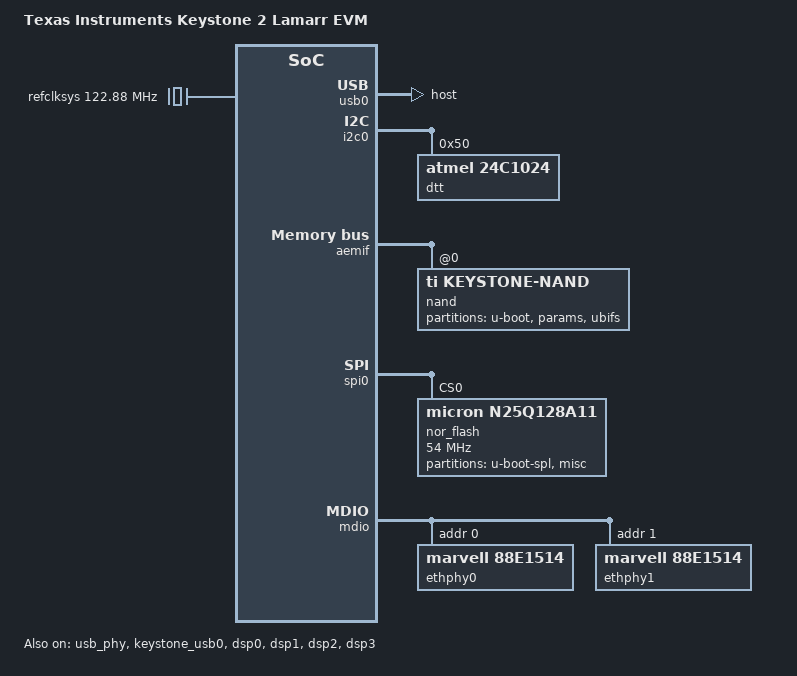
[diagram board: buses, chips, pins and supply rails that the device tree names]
// SPDX-License-Identifier: GPL-2.0
/*
 * Keystone 2 Lamarr EVM device tree
 *
 * Copyright (C) 2014-2017 Texas Instruments Incorporated - http://www.ti.com/
 */
/dts-v1/;

#include "keystone.dtsi"
#include "keystone-k2l.dtsi"

/ {
	compatible = "ti,k2l-evm", "ti,k2l", "ti,keystone";
	model = "Texas Instruments Keystone 2 Lamarr EVM";

	reserved-memory {
		#address-cells = <2>;
		#size-cells = <2>;
		ranges;

		dsp_common_memory: dsp-common-memory@81f800000 {
			compatible = "shared-dma-pool";
			reg = <0x00000008 0x1f800000 0x00000000 0x800000>;
			reusable;
			status = "okay";
		};
	};
};

&soc0 {
		clocks {
			refclksys: refclksys {
				#clock-cells = <0>;
				compatible = "fixed-clock";
				clock-frequency = <122880000>;
				clock-output-names = "refclk-sys";
			};
		};
};

&usb_phy {
	status = "okay";
};

&keystone_usb0 {
	status = "okay";
};

&usb0 {
	dr_mode = "host";
};

&i2c0 {
	dtt@50 {
		compatible = "atmel,24c1024";
		reg = <0x50>;
	};
};

&aemif {
	cs0 {
		#address-cells = <2>;
		#size-cells = <1>;
		clock-ranges;
		ranges;

		ti,cs-chipselect = <0>;
		/* all timings in nanoseconds */
		ti,cs-min-turnaround-ns = <12>;
		ti,cs-read-hold-ns = <6>;
		ti,cs-read-strobe-ns = <23>;
		ti,cs-read-setup-ns = <9>;
		ti,cs-write-hold-ns = <8>;
		ti,cs-write-strobe-ns = <23>;
		ti,cs-write-setup-ns = <8>;

		nand@0,0 {
			compatible = "ti,keystone-nand","ti,davinci-nand";
			#address-cells = <1>;
			#size-cells = <1>;
			reg = <0 0 0x4000000
			       1 0 0x0000100>;

			ti,davinci-chipselect = <0>;
			ti,davinci-mask-ale = <0x2000>;
			ti,davinci-mask-cle = <0x4000>;
			ti,davinci-mask-chipsel = <0>;
			nand-ecc-mode = "hw";
			ti,davinci-ecc-bits = <4>;
			nand-on-flash-bbt;

			partition@0 {
				label = "u-boot";
				reg = <0x0 0x100000>;
				read-only;
			};

			partition@100000 {
				label = "params";
				reg = <0x100000 0x80000>;
				read-only;
			};

			partition@180000 {
				label = "ubifs";
				reg = <0x180000 0x7FE80000>;
			};
		};
	};
};

&spi0 {
	nor_flash: flash@0 {
		#address-cells = <1>;
		#size-cells = <1>;
		compatible = "micron,n25q128a11", "jedec,spi-nor";
		spi-max-frequency = <54000000>;
		m25p,fast-read;
		reg = <0>;

		partition@0 {
			label = "u-boot-spl";
			reg = <0x0 0x80000>;
			read-only;
		};

		partition@1 {
			label = "misc";
			reg = <0x80000 0xf80000>;
		};
	};
};

&mdio {
	status = "ok";
	ethphy0: ethernet-phy@0 {
		compatible = "marvell,88E1514", "marvell,88E1510", "ethernet-phy-ieee802.3-c22";
		reg = <0>;
	};

	ethphy1: ethernet-phy@1 {
		compatible = "marvell,88E1514", "marvell,88E1510", "ethernet-phy-ieee802.3-c22";
		reg = <1>;
	};
};

&dsp0 {
	memory-region = <&dsp_common_memory>;
	status = "okay";
};

&dsp1 {
	memory-region = <&dsp_common_memory>;
	status = "okay";
};

&dsp2 {
	memory-region = <&dsp_common_memory>;
	status = "okay";
};

&dsp3 {
	memory-region = <&dsp_common_memory>;
	status = "okay";
};
